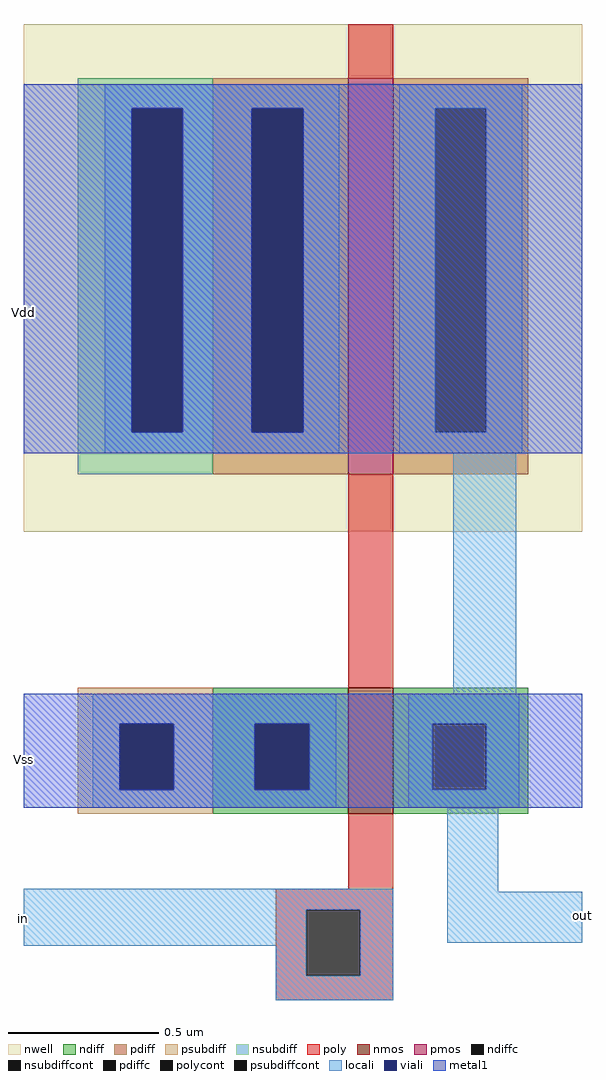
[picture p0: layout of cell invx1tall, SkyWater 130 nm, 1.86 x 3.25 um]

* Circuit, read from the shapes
.subckt invx1tall in out Vdd Vss
XM1 out in Vss Vss sky130_fd_pr__nfet_01v8 w=0.42 l=0.15
XM2 out in Vdd Vdd sky130_fd_pr__pfet_01v8 w=1.32 l=0.15
.ends

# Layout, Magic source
magic
tech sky130A
<< nwell >>
rect -108 101 78 270
<< nmos >>
rect 0 7 15 49
<< pmos >>
rect 0 120 15 252
<< ndiff >>
rect -45 37 0 49
rect -45 15 -31 37
rect -13 15 0 37
rect -45 7 0 15
rect 15 37 60 49
rect 15 15 28 37
rect 46 15 60 37
rect 15 7 60 15
<< pdiff >>
rect -45 242 0 252
rect -45 134 -32 242
rect -15 134 0 242
rect -45 120 0 134
rect 15 242 60 252
rect 15 134 29 242
rect 46 134 60 242
rect 15 120 60 134
<< ndiffc >>
rect -31 15 -13 37
rect 28 15 46 37
<< pdiffc >>
rect -32 134 -15 242
rect 29 134 46 242
<< psubdiff >>
rect -90 37 -45 49
rect -90 15 -76 37
rect -58 15 -45 37
rect -90 7 -45 15
<< nsubdiff >>
rect -90 242 -45 252
rect -90 134 -72 242
rect -55 134 -45 242
rect -90 120 -45 134
<< psubdiffcont >>
rect -76 15 -58 37
<< nsubdiffcont >>
rect -72 134 -55 242
<< poly >>
rect 0 252 15 270
rect 0 49 15 120
rect 0 -18 15 7
rect -24 -25 15 -18
rect -24 -47 -14 -25
rect 4 -47 15 -25
rect -24 -55 15 -47
<< polycont >>
rect -14 -47 4 -25
<< locali >>
rect -81 242 -3 250
rect -81 134 -72 242
rect -55 134 -32 242
rect -15 134 -3 242
rect -81 127 -3 134
rect 17 242 58 250
rect 17 134 29 242
rect 46 134 58 242
rect 17 127 58 134
rect 35 47 56 127
rect -85 37 -4 47
rect -85 15 -76 37
rect -58 15 -31 37
rect -13 15 -4 37
rect -85 9 -4 15
rect 20 37 57 47
rect 20 15 28 37
rect 46 15 57 37
rect 20 9 57 15
rect -108 -25 15 -18
rect -108 -37 -14 -25
rect -24 -47 -14 -37
rect 4 -47 15 -25
rect 33 -19 50 9
rect 33 -36 78 -19
rect -24 -55 15 -47
<< viali >>
rect -72 134 -55 242
rect -32 134 -15 242
rect -76 15 -58 37
rect -31 15 -13 37
<< metal1 >>
rect -108 242 78 250
rect -108 134 -72 242
rect -55 134 -32 242
rect -15 134 78 242
rect -108 127 78 134
rect -108 37 78 47
rect -108 15 -76 37
rect -58 15 -31 37
rect -13 15 78 37
rect -108 9 78 15
<< labels >>
rlabel locali -108 -28 -108 -28 7 in
port 1 w
rlabel locali 78 -27 78 -27 3 out
port 2 e
rlabel metal1 -108 174 -108 174 7 Vdd
port 3 w
rlabel metal1 -108 25 -108 25 7 Vss
port 4 w
<< end >>
